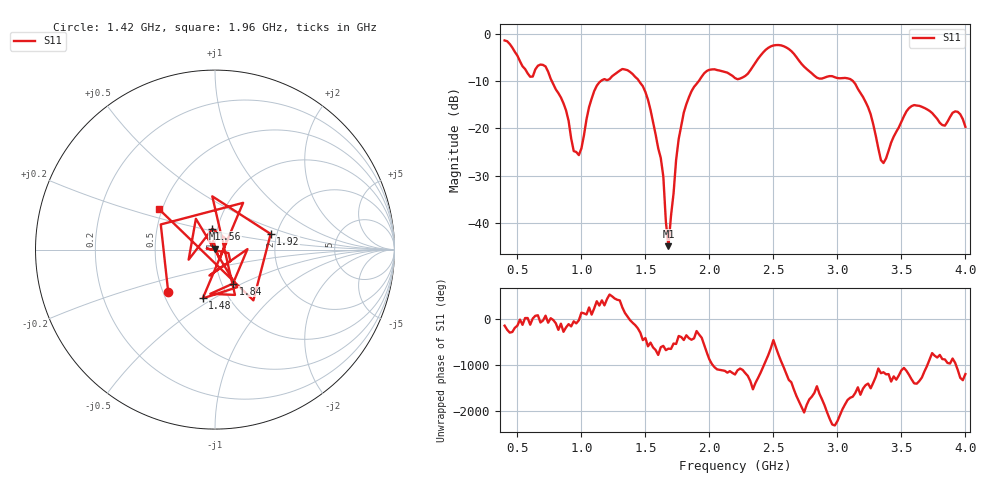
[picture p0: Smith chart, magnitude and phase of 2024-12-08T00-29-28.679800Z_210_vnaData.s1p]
!Created with skrf (http://scikit-rf.org).
# Hz S RI R 50.0
!freq ReS11 ImS11
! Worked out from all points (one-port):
!   181 points, 400 MHz to 4 GHz, reference 50 ohm
!   lowest |S11| = -44.9 dB at 1.68 GHz (marker M1), VSWR 1.01, Z = 50.2 + j0.537 ohm
!   |S11| at or under -10 dB: 769.4 MHz to 1.15 GHz (380.5 MHz wide, 39.6 % of centre); 1.451 GHz to 1.915 GHz (464.1 MHz wide, 27.6 % of centre); 3.123 GHz to end of sweep
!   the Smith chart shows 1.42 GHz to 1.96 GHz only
!   S11 on the Smith chart (normalised r, x): 1.42 GHz: 0.53, -0.29; 1.48 GHz: 0.76, -0.45; 1.56 GHz: 0.95, +0.22; 1.84 GHz: 1.13, -0.45; 1.92 GHz: 1.85, +0.36; 1.96 GHz: 0.48, +0.25
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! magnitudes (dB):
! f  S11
! 400 MHz  -1.3
! 600 MHz  -9.0
! 720 MHz  -6.9
! 860 MHz  -14.7
! 940 MHz  -24.8
! 980 MHz  -25.6
! 1.12 GHz  -10.9
! 1.3 GHz  -7.7
! 1.42 GHz  -9.1
! 1.48 GHz  -11.1
! 1.56 GHz  -18.7
! 1.64 GHz  -30.2
! 1.68 GHz  -44.9
! 1.76 GHz  -22.2
! 1.84 GHz  -13.4
! 1.92 GHz  -9.8
! 1.96 GHz  -8.3
! 2.2 GHz  -9.3
! 2.48 GHz  -2.6
! 2.66 GHz  -4.2
! 2.84 GHz  -9.2
! 3.1 GHz  -9.5
! 3.24 GHz  -15.5
! 3.36 GHz  -27.3
! 3.56 GHz  -15.7
! 3.84 GHz  -19.4
! 3.94 GHz  -16.5
! 4 GHz  -19.6
